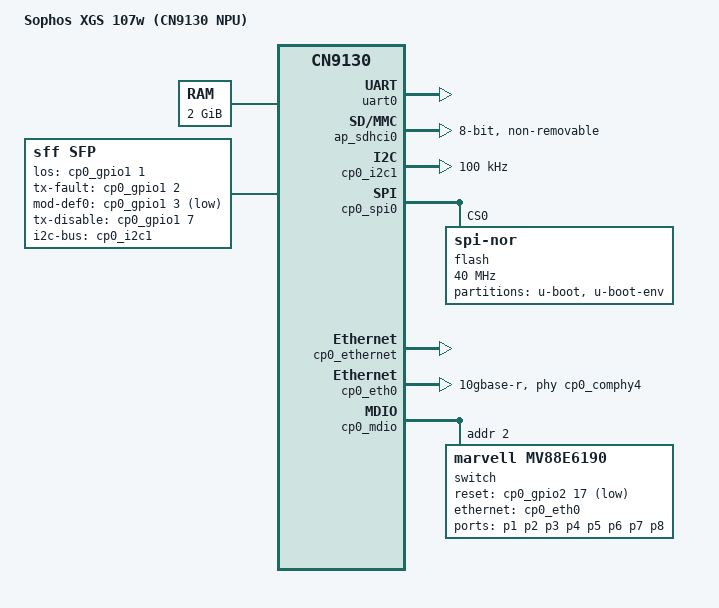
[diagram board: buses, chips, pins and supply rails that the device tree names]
// SPDX-License-Identifier: (GPL-2.0+ OR MIT)
/*
 * Device tree for the network processing unit (NPU) of the Sophos XGS 87/107
 * firewalls: a Marvell CN9130 SoC with a Marvell 88E6193X switch.
 *
 * The x86 host on the same board is not described here.
 */

/dts-v1/;

#include "cn9130.dtsi"
#include <dt-bindings/gpio/gpio.h>

/ {
	model = "Sophos XGS 107w (CN9130 NPU)";
	compatible = "sophos,xgs107w-npu", "marvell,cn9130";

	chosen {
		stdout-path = "serial0:115200n8";
	};

	aliases {
		ethernet0 = &cp0_eth0;
		i2c1 = &cp0_i2c1;
	};

	memory@0 {
		device_type = "memory";
		reg = <0x0 0x0 0x0 0x80000000>;
	};

	reserved-memory {
		/* OP-TEE, reserved by the firmware */
		tee@4400000 {
			reg = <0x0 0x4400000 0x0 0x1000000>;
			no-map;
		};
	};

	/* Front-panel SFP cage "F1", wired to switch port 9 */
	sfp: sfp {
		compatible = "sff,sfp";
		i2c-bus = <&cp0_i2c1>;
		los-gpios = <&cp0_gpio1 1 GPIO_ACTIVE_HIGH>;
		tx-fault-gpios = <&cp0_gpio1 2 GPIO_ACTIVE_HIGH>;
		mod-def0-gpios = <&cp0_gpio1 3 GPIO_ACTIVE_LOW>;
		tx-disable-gpios = <&cp0_gpio1 7 GPIO_ACTIVE_HIGH>;
	};
};

&uart0 {
	status = "okay";
};

/* eMMC on the AP */
&ap_sdhci0 {
	bus-width = <8>;
	non-removable;
	mmc-ddr-1_8v;
	status = "okay";
};

/*
 * The MPP pin muxing is left as configured by the boot loader; the pin
 * controller node only exists to back the GPIO banks.
 */
&cp0_syscon0 {
	cp0_pinctrl: pinctrl {
		compatible = "marvell,cp115-standalone-pinctrl";
	};
};

&cp0_i2c1 {
	/* I2C bus of the SFP cage */
	clock-frequency = <100000>;
	status = "okay";
};

/* 4 MB SPI NOR with U-Boot and its environment, read-only on purpose */
&cp0_spi0 {
	status = "okay";

	flash@0 {
		compatible = "jedec,spi-nor";
		reg = <0>;
		spi-max-frequency = <40000000>;

		partitions {
			compatible = "fixed-partitions";
			#address-cells = <1>;
			#size-cells = <1>;

			partition@0 {
				label = "u-boot";
				reg = <0x0 0x3f0000>;
				read-only;
			};

			partition@3f0000 {
				label = "u-boot-env";
				reg = <0x3f0000 0x10000>;
				read-only;
			};
		};
	};
};

&cp0_ethernet {
	status = "okay";
};

/* 10G link to switch port 0 */
&cp0_eth0 {
	phy-mode = "10gbase-r";
	phys = <&cp0_comphy4 0>;
	managed = "in-band-status";
	status = "okay";
};

&cp0_mdio {
	status = "okay";

	switch@2 {
		compatible = "marvell,mv88e6190";
		reg = <2>;
		reset-gpios = <&cp0_gpio2 17 GPIO_ACTIVE_LOW>;

		ports {
			#address-cells = <1>;
			#size-cells = <0>;

			port@0 {
				reg = <0>;
				ethernet = <&cp0_eth0>;
				phy-mode = "10gbase-r";
				managed = "in-band-status";
			};

			port@1 {
				reg = <1>;
				label = "p1";
			};

			port@2 {
				reg = <2>;
				label = "p2";
			};

			port@3 {
				reg = <3>;
				label = "p3";
			};

			port@4 {
				reg = <4>;
				label = "p4";
			};

			port@5 {
				reg = <5>;
				label = "p5";
			};

			port@6 {
				reg = <6>;
				label = "p6";
			};

			port@7 {
				reg = <7>;
				label = "p7";
			};

			port@8 {
				reg = <8>;
				label = "p8";
			};

			port@9 {
				reg = <9>;
				label = "sfp";
				phy-mode = "1000base-x";
				managed = "in-band-status";
				sfp = <&sfp>;
			};
		};
	};
};
